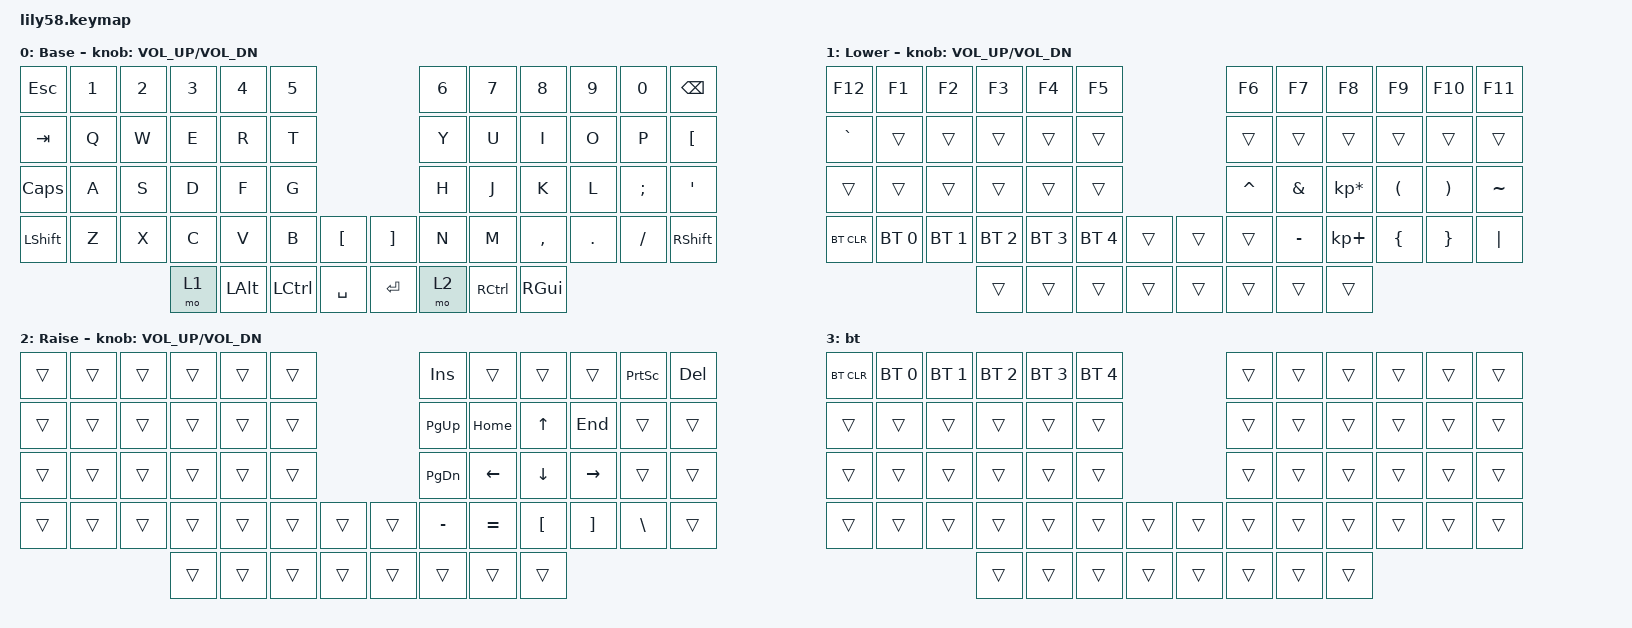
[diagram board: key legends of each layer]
/*
 * Copyright (c) 2020 The ZMK Contributors
 *
 * SPDX-License-Identifier: MIT
 */

#include <behaviors.dtsi>
#include <dt-bindings/zmk/bt.h>
#include <dt-bindings/zmk/keys.h>

/ {
    keymap {
        compatible = "zmk,keymap";

        default_layer {
            // ------------------------------------------------------------------------------------------------------------
            // |  ESC  |  1  |  2  |  3   |  4   |  5   |                   |  6   |  7    |  8    |  9   |   0   |   `   |
            // |  TAB  |  Q  |  W  |  E   |  R   |  T   |                   |  Y   |  U    |  I    |  O   |   P   |   -   |
            // |  CTRL |  A  |  S  |  D   |  F   |  G   |                   |  H   |  J    |  K    |  L   |   ;   |   '   |
            // | SHIFT |  Z  |  X  |  C   |  V   |  B   |   "["  |  |  "]"  |  N   |  M    |  ,    |  .   |   /   | SHIFT |
            //                     | ALT  | GUI  | LOWER|  SPACE |  | ENTER | RAISE| BSPC  | GUI   |

            label = "Base";
            bindings = <
&kp ESC    &kp N1  &kp N2  &kp N3  &kp N4    &kp N5                            &kp N6  &kp N7     &kp N8     &kp N9   &kp N0    &kp BSPC
&kp TAB    &kp Q   &kp W   &kp E   &kp R     &kp T                             &kp Y   &kp U      &kp I      &kp O    &kp P     &kp LBKT
&kp CLCK   &kp A   &kp S   &kp D   &kp F     &kp G                             &kp H   &kp J      &kp K      &kp L    &kp SEMI  &kp SQT
&kp LSHFT  &kp Z   &kp X   &kp C   &kp V     &kp B      &kp LBKT     &kp RBKT  &kp N   &kp M      &kp COMMA  &kp DOT  &kp FSLH  &kp RSHFT
                           &mo 1   &kp LALT  &kp LCTRL  &kp SPACE    &kp RET   &mo 2   &kp RCTRL  &kp RGUI
            >;

            sensor-bindings = <&inc_dec_kp C_VOL_UP C_VOL_DN>;
        };

        lower_layer {
            // ------------------------------------------------------------------------------------------------------------
            // | BTCLR | BT1 | BT2 |  BT3 |  BT4 |  BT5 |                   |      |       |       |      |       |       |
            // |  F1   |  F2 |  F3 |  F4  |  F5  |  F6  |                   |  F7  |  F8   |  F9   |  F10 |  F11  |  F12  |
            // |   `   |  !  |  @  |  #   |  $   |  %   |                   |  ^   |  &    |  *    |  (   |   )   |   ~   |
            // |       |     |     |      |      |      |        |  |       |      |  _    |  +    |  {   |   }   |  "|"  |
            //                     |      |      |      |        |  |       |      |       |       |

            label = "Lower";
            bindings = <
&kp F12     &kp F1        &kp F2        &kp F3        &kp F4        &kp F5                          &kp F6     &kp F7     &kp F8           &kp F9    &kp F10   &kp F11
&kp GRAVE   &trans        &trans        &trans        &trans        &trans                          &trans     &trans     &trans           &trans    &trans    &trans
&trans      &trans        &trans        &trans        &trans        &trans                          &kp CARET  &kp AMPS   &kp KP_MULTIPLY  &kp LPAR  &kp RPAR  &kp TILDE
&bt BT_CLR  &bt BT_SEL 0  &bt BT_SEL 1  &bt BT_SEL 2  &bt BT_SEL 3  &bt BT_SEL 4  &trans    &trans  &trans     &kp MINUS  &kp KP_PLUS      &kp LBRC  &kp RBRC  &kp PIPE
                                        &trans        &trans        &trans        &trans    &trans  &trans     &trans     &trans
            >;

            sensor-bindings = <&inc_dec_kp C_VOL_UP C_VOL_DN>;
        };

        raise_layer {
            // ------------------------------------------------------------------------------------------------------------
            // |       |     |     |      |      |      |                   |      |       |       |      |       |       |
            // |   `   |  1  |  2  |  3   |  4   |  5   |                   |  6   |   7   |   8   |  9   |   0   |       |
            // |   F1  |  F2 |  F3 |  F4  |  F5  |  F6  |                   |      |   <-  |   v   |  ^   |  ->   |       |
            // |   F7  |  F8 |  F9 |  F10 |  F11 |  F12 |        |  |       |  +   |   -   |   =   |  [   |   ]   |   \   |
            //                     |      |      |      |        |  |       |      |       |       |

            label = "Raise";
            bindings = <
&trans  &trans  &trans  &trans  &trans  &trans                    &kp INS    &trans     &trans            &trans             &kp PRINTSCREEN  &kp DELETE
&trans  &trans  &trans  &trans  &trans  &trans                    &kp PG_UP  &kp HOME   &kp UP            &kp END            &trans           &trans
&trans  &trans  &trans  &trans  &trans  &trans                    &kp PG_DN  &kp LEFT   &kp DOWN          &kp RIGHT          &trans           &trans
&trans  &trans  &trans  &trans  &trans  &trans  &trans    &trans  &kp MINUS  &kp EQUAL  &kp LEFT_BRACKET  &kp RIGHT_BRACKET  &kp BSLH         &trans
                        &trans  &trans  &trans  &trans    &trans  &trans     &trans     &trans
            >;

            sensor-bindings = <&inc_dec_kp C_VOL_UP C_VOL_DN>;
        };

        bt {
            bindings = <
&bt BT_CLR  &bt BT_SEL 0  &bt BT_SEL 1  &bt BT_SEL 2  &bt BT_SEL 3  &bt BT_SEL 4                    &trans  &trans  &trans  &trans  &trans  &trans
&trans      &trans        &trans        &trans        &trans        &trans                          &trans  &trans  &trans  &trans  &trans  &trans
&trans      &trans        &trans        &trans        &trans        &trans                          &trans  &trans  &trans  &trans  &trans  &trans
&trans      &trans        &trans        &trans        &trans        &trans        &trans    &trans  &trans  &trans  &trans  &trans  &trans  &trans
                                        &trans        &trans        &trans        &trans    &trans  &trans  &trans  &trans
            >;
        };
    };

    conditional_layers {
        compatible = "zmk,conditional-layers";

        Both {
            if-layers = <1 2>;
            then-layer = <3>;
        };
    };
};
